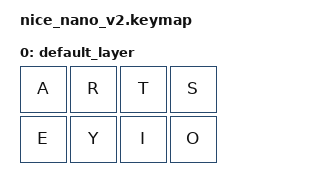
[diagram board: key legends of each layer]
/ {
    keymap {
        compatible = "zmk,keymap";

        default_layer {
            bindings = <
                &kp A  &kp R  &kp T  &kp S
                &kp E  &kp Y  &kp I  &kp O
            >;
        };
    };
};
